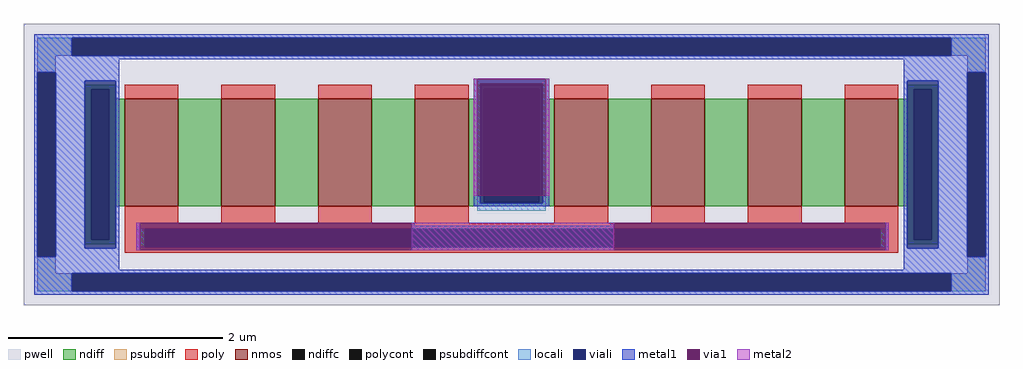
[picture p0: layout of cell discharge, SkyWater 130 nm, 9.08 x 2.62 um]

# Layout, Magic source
magic
tech sky130A
<< pwell >>
rect 6 0 914 262
<< nmos >>
rect 100 92 150 192
rect 190 92 240 192
rect 280 92 330 192
rect 370 92 420 192
rect 500 92 550 192
rect 590 92 640 192
rect 680 92 730 192
rect 770 92 820 192
<< ndiff >>
rect 63 201 92 205
rect 63 61 69 201
rect 86 192 92 201
rect 428 201 492 205
rect 428 192 434 201
rect 86 92 100 192
rect 150 92 190 192
rect 240 92 280 192
rect 330 92 370 192
rect 420 96 434 192
rect 486 192 492 201
rect 828 201 857 205
rect 828 192 834 201
rect 486 96 500 192
rect 420 92 500 96
rect 550 92 590 192
rect 640 92 680 192
rect 730 92 770 192
rect 820 92 834 192
rect 86 61 92 92
rect 63 57 92 61
rect 828 61 834 92
rect 851 61 857 201
rect 828 57 857 61
<< ndiffc >>
rect 69 61 86 201
rect 434 96 486 201
rect 834 61 851 201
<< psubdiff >>
rect 19 232 51 249
rect 869 232 901 249
rect 19 217 36 232
rect 884 217 901 232
rect 19 30 36 45
rect 884 30 901 45
rect 19 13 51 30
rect 869 13 901 30
<< psubdiffcont >>
rect 51 232 869 249
rect 19 45 36 217
rect 884 45 901 217
rect 51 13 869 30
<< poly >>
rect 100 192 150 205
rect 190 192 240 205
rect 280 192 330 205
rect 370 192 420 205
rect 500 192 550 205
rect 590 192 640 205
rect 680 192 730 205
rect 770 192 820 205
rect 100 76 150 92
rect 190 76 240 92
rect 280 76 330 92
rect 370 76 420 92
rect 500 76 550 92
rect 590 76 640 92
rect 680 76 730 92
rect 770 76 820 92
rect 100 71 820 76
rect 100 54 119 71
rect 803 54 820 71
rect 100 49 820 54
<< polycont >>
rect 119 54 803 71
<< locali >>
rect 19 232 51 249
rect 869 232 901 249
rect 19 217 36 232
rect 884 217 901 232
rect 428 206 492 209
rect 428 95 431 206
rect 489 95 492 206
rect 428 88 492 95
rect 111 54 119 71
rect 803 54 811 71
rect 19 30 36 45
rect 884 30 901 45
rect 19 13 51 30
rect 869 13 901 30
<< viali >>
rect 51 232 869 249
rect 19 45 36 217
rect 63 201 92 209
rect 63 61 69 201
rect 69 61 86 201
rect 86 61 92 201
rect 431 201 489 206
rect 431 96 434 201
rect 434 96 486 201
rect 486 96 489 201
rect 431 95 489 96
rect 828 201 857 209
rect 63 53 92 61
rect 119 54 803 71
rect 828 61 834 201
rect 834 61 851 201
rect 851 61 857 201
rect 828 53 857 61
rect 884 45 901 217
rect 51 13 869 30
<< metal1 >>
rect 16 249 904 252
rect 16 232 51 249
rect 869 232 904 249
rect 16 229 904 232
rect 16 217 95 229
rect 16 45 19 217
rect 36 209 95 217
rect 825 217 904 229
rect 36 53 63 209
rect 92 53 95 209
rect 425 102 428 211
rect 492 102 495 211
rect 425 95 431 102
rect 489 95 495 102
rect 425 92 495 95
rect 825 209 884 217
rect 36 45 95 53
rect 111 51 114 77
rect 367 74 370 77
rect 552 74 555 77
rect 367 71 555 74
rect 367 51 555 54
rect 808 51 811 77
rect 825 53 828 209
rect 857 53 884 209
rect 16 33 95 45
rect 825 45 884 53
rect 901 45 904 217
rect 825 33 904 45
rect 16 30 904 33
rect 16 13 51 30
rect 869 13 904 30
rect 16 10 904 13
<< via1 >>
rect 428 206 492 211
rect 428 102 431 206
rect 431 102 489 206
rect 489 102 492 206
rect 114 71 367 77
rect 555 71 808 77
rect 114 54 119 71
rect 119 54 367 71
rect 555 54 803 71
rect 803 54 808 71
rect 114 51 367 54
rect 555 51 808 54
<< metal2 >>
rect 425 102 428 211
rect 492 102 495 211
rect 111 51 114 77
rect 367 51 555 77
rect 808 51 811 77
<< properties >>
string FIXED_BBOX 0 0 920 262
<< end >>
